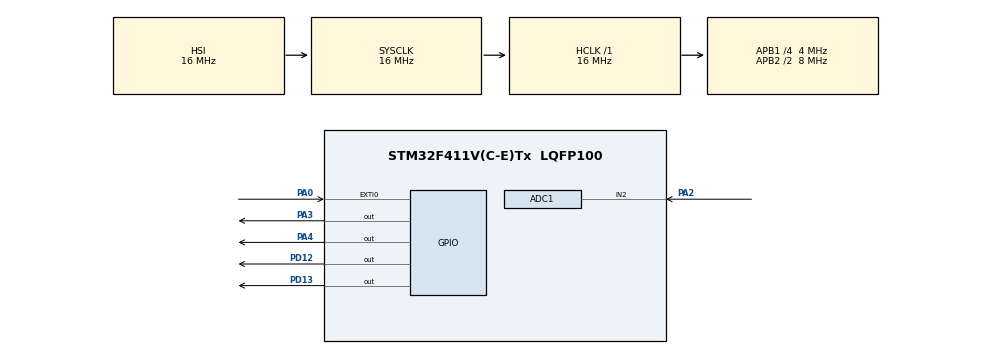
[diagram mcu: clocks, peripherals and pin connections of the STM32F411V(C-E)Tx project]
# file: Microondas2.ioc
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ADC1.Channel-0\#ChannelRegularConversion=ADC_CHANNEL_2
ADC1.NbrOfConversionFlag=1
ADC1.Rank-0\#ChannelRegularConversion=1
ADC1.Resolution=ADC_RESOLUTION_8B
ADC1.SamplingTime-0\#ChannelRegularConversion=ADC_SAMPLETIME_3CYCLES
ADC1.master=1
Mcu.Family=STM32F4
Mcu.Name=STM32F411V(C-E)Tx
Mcu.Package=LQFP100
NVIC.EXTI0_IRQn=true\:0\:0\:false\:false\:true\:true\:true\:true
NVIC.PriorityGroup=NVIC_PRIORITYGROUP_0
NVIC.TIM2_IRQn=true\:0\:0\:false\:false\:true\:true\:true\:true
PA0-WKUP.Signal=GPXTI0
PA1.Signal=S_TIM2_CH2
PA2.Signal=ADCx_IN2
PA3.Signal=GPIO_Output
PA4.Signal=GPIO_Output
PD12.Signal=GPIO_Output
PD13.Signal=GPIO_Output
ProjectManager.HeapSize=0x200
ProjectManager.StackSize=0x400
ProjectManager.TargetToolchain=STM32CubeIDE
RCC.48MHZClocksFreq_Value=96000000
RCC.AHBFreq_Value=16000000
RCC.APB1CLKDivider=RCC_HCLK_DIV4
RCC.APB1Freq_Value=4000000
RCC.APB1TimFreq_Value=8000000
RCC.APB2CLKDivider=RCC_HCLK_DIV2
RCC.APB2Freq_Value=8000000
RCC.APB2TimFreq_Value=16000000
RCC.CortexFreq_Value=16000000
RCC.HCLKFreq_Value=16000000
RCC.HSE_VALUE=8000000
RCC.HSI_VALUE=16000000
RCC.LSE_VALUE=32768
RCC.PLLI2SM=5
RCC.PLLI2SN=200
RCC.PLLM=4
RCC.PLLP=RCC_PLLP_DIV4
RCC.PLLQ=8
RCC.SYSCLKFreq_VALUE=16000000
RCC.VCOOutputFreq_Value=768000000
SH.ADCx_IN2.0=ADC1_IN2,IN2
SH.S_TIM2_CH2.0=TIM2_CH2
TIM2.CounterMode=TIM_COUNTERMODE_DOWN
TIM2.Period=4999
TIM2.Prescaler=7999
VP_TIM2_VS_ClockSourceINT.Mode=Internal
board=STM32F411E-DISCO

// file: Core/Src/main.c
/* USER CODE BEGIN Header */
/**
  ******************************************************************************
  * @file           : main.c
  * @brief          : Main program body
  ******************************************************************************
  * @attention
  *
  * Copyright (c) 2025 STMicroelectronics.
  * All rights reserved.
  *
  * This software is licensed under terms that can be found in the LICENSE file
  * in the root directory of this software component.
  * If no LICENSE file comes with this software, it is provided AS-IS.
  *
  ******************************************************************************
  */
/* USER CODE END Header */
#include "main.h"

/* USER CODE BEGIN Includes */
#include "stm32f4xx_hal.h"
#include <stdlib.h>
#include "lcd_i2c.h"

volatile uint8_t buttonPressed = 0;
volatile uint8_t time_end = 0;
uint32_t ADC_val;
uint32_t remaining_time;
/* USER CODE END Includes */

ADC_HandleTypeDef hadc1;

TIM_HandleTypeDef htim2;

void SystemClock_Config(void);
static void MX_GPIO_Init(void);
static void MX_ADC1_Init(void);
static void MX_TIM2_Init(void);

/* USER CODE BEGIN 0 */
void HAL_TIM_PeriodElapsedCallback(TIM_HandleTypeDef *htim)
{
  if (htim->Instance == TIM2)
  {
	if (remaining_time > 0)
        {
            remaining_time--;
	    static uint32_t last_display_time = 9999;  // Para evitar refrescar la pantalla constantemente
            if (remaining_time != last_display_time) {
            char buffer[16];
            snprintf(buffer, 16, "Tiempo: %d s", remaining_time);
            lcd_put_cur(0, 0);
            lcd_send_string(buffer);
            last_display_time = remaining_time;
        }
        else
        {
            HAL_GPIO_WritePin(GPIOD, GPIO_PIN_13, GPIO_PIN_SET);
            HAL_GPIO_WritePin(GPIOA, GPIO_PIN_4, GPIO_PIN_SET); //LED naranja ON
            HAL_GPIO_WritePin(GPIOA, GPIO_PIN_3, GPIO_PIN_RESET); //LED verde OFF
            HAL_TIM_Base_Stop_IT(&htim2);
        }
      //time_end = 1;
     /* Codigo anterior
      HAL_GPIO_WritePin(GPIOD, GPIO_PIN_13, GPIO_PIN_SET);
      HAL_GPIO_WritePin(GPIOA, GPIO_PIN_4, GPIO_PIN_SET);  // LED Naranja ON
      HAL_GPIO_WritePin(GPIOA, GPIO_PIN_3, GPIO_PIN_RESET); // LED naranja OFF
      HAL_TIM_Base_Stop_IT(&htim2);
      */
  }
}
void HAL_GPIO_EXTI_Callback(uint16_t GPIO_Pin)
{
 if (GPIO_Pin == GPIO_PIN_0) {
        HAL_Delay(50);  // Pequeño retardo para debounce
        if (HAL_GPIO_ReadPin(GPIOA, GPIO_PIN_0) == GPIO_PIN_SET) {
            HAL_GPIO_WritePin(GPIOD, GPIO_PIN_12, GPIO_PIN_SET);
            HAL_GPIO_WritePin(GPIOA, GPIO_PIN_3, GPIO_PIN_SET);  // LED verde ON
            HAL_GPIO_WritePin(GPIOA, GPIO_PIN_4, GPIO_PIN_RESET); // LED naranja OFF
            __HAL_TIM_CLEAR_FLAG(&htim2, TIM_IT_UPDATE);

            // Escalar ADC a un rango de tiempo útil (1-30 segundos)
            remaining_time = (ADC_val * 30) / 255;
            if (remaining_time == 0) remaining_time = 1;

            __HAL_TIM_SET_COUNTER(&htim2, remaining_time * 1000);  // Ajustar temporizador
            if (HAL_TIM_Base_Start_IT(&htim2) != HAL_OK) {
                Error_Handler();
            }
        }
    }
	/* Codigo anterior
  if (GPIO_Pin == GPIO_PIN_0)
  {
      //buttonPressed = 1;
      HAL_GPIO_WritePin(GPIOD, GPIO_PIN_12, GPIO_PIN_SET);
      HAL_GPIO_WritePin(GPIOA, GPIO_PIN_3, GPIO_PIN_SET);  // LED verde ON
      HAL_GPIO_WritePin(GPIOA, GPIO_PIN_4, GPIO_PIN_RESET); // LED naranja OFF
      __HAL_TIM_CLEAR_FLAG(&htim2, TIM_IT_UPDATE);
      __HAL_TIM_SET_COUNTER(&htim2, ADC_val*100);
      remaining_time = ADC_val;
      HAL_TIM_Base_Start_IT(&htim2);
  }*/

}
/* USER CODE END 0 */

int main(void)
{

  /* MCU Configuration--------------------------------------------------------*/

  /* Reset of all peripherals, Initializes the Flash interface and the Systick. */
  HAL_Init();

  /* Configure the system clock */
  SystemClock_Config();

  /* Initialize all configured peripherals */
  MX_GPIO_Init();
  MX_ADC1_Init();
  MX_TIM2_Init();
  lcd_init();  // Inicializar la pantalla LCD

  /* Infinite loop */
  while (1)
  {

    /* USER CODE BEGIN 3 */
	  //Leemos el valor del potenciometro
	  HAL_ADC_Start(&hadc1);

	  	 if(HAL_ADC_PollForConversion(&hadc1, HAL_MAX_DELAY) == HAL_OK){
	  	 	ADC_val = HAL_ADC_GetValue(&hadc1);
	  	 }
	  HAL_ADC_Stop(&hadc1);
  }
  /* USER CODE END 3 */
}

void SystemClock_Config(void)
{
  RCC_OscInitTypeDef RCC_OscInitStruct = {0};
  RCC_ClkInitTypeDef RCC_ClkInitStruct = {0};

  /** Configure the main internal regulator output voltage
  */
  __HAL_RCC_PWR_CLK_ENABLE();
  __HAL_PWR_VOLTAGESCALING_CONFIG(PWR_REGULATOR_VOLTAGE_SCALE1);

  /** Initializes the RCC Oscillators according to the specified parameters
  * in the RCC_OscInitTypeDef structure.
  */
  RCC_OscInitStruct.OscillatorType = RCC_OSCILLATORTYPE_HSI;
  RCC_OscInitStruct.HSIState = RCC_HSI_ON;
  RCC_OscInitStruct.HSICalibrationValue = RCC_HSICALIBRATION_DEFAULT;
  RCC_OscInitStruct.PLL.PLLState = RCC_PLL_NONE;
  if (HAL_RCC_OscConfig(&RCC_OscInitStruct) != HAL_OK)
  {
    Error_Handler();
  }

  /** Initializes the CPU, AHB and APB buses clocks
  */
  RCC_ClkInitStruct.ClockType = RCC_CLOCKTYPE_HCLK|RCC_CLOCKTYPE_SYSCLK
                              |RCC_CLOCKTYPE_PCLK1|RCC_CLOCKTYPE_PCLK2;
  RCC_ClkInitStruct.SYSCLKSource = RCC_SYSCLKSOURCE_HSI;
  RCC_ClkInitStruct.AHBCLKDivider = RCC_SYSCLK_DIV1;
  RCC_ClkInitStruct.APB1CLKDivider = RCC_HCLK_DIV4;
  RCC_ClkInitStruct.APB2CLKDivider = RCC_HCLK_DIV2;

  if (HAL_RCC_ClockConfig(&RCC_ClkInitStruct, FLASH_LATENCY_0) != HAL_OK)
  {
    Error_Handler();
  }
}

static void MX_ADC1_Init(void)
{

  ADC_ChannelConfTypeDef sConfig = {0};

  /** Configure the global features of the ADC (Clock, Resolution, Data Alignment and number of conversion)
  */
  hadc1.Instance = ADC1;
  hadc1.Init.ClockPrescaler = ADC_CLOCK_SYNC_PCLK_DIV2;
  hadc1.Init.Resolution = ADC_RESOLUTION_8B;
  hadc1.Init.ScanConvMode = DISABLE;
  hadc1.Init.ContinuousConvMode = DISABLE;
  hadc1.Init.DiscontinuousConvMode = DISABLE;
  hadc1.Init.ExternalTrigConvEdge = ADC_EXTERNALTRIGCONVEDGE_NONE;
  hadc1.Init.ExternalTrigConv = ADC_SOFTWARE_START;
  hadc1.Init.DataAlign = ADC_DATAALIGN_RIGHT;
  hadc1.Init.NbrOfConversion = 1;
  hadc1.Init.DMAContinuousRequests = DISABLE;
  hadc1.Init.EOCSelection = ADC_EOC_SINGLE_CONV;
  if (HAL_ADC_Init(&hadc1) != HAL_OK)
  {
    Error_Handler();
  }

  /** Configure for the selected ADC regular channel its corresponding rank in the sequencer and its sample time.
  */
  sConfig.Channel = ADC_CHANNEL_2;
  sConfig.Rank = 1;
  sConfig.SamplingTime = ADC_SAMPLETIME_3CYCLES;
  if (HAL_ADC_ConfigChannel(&hadc1, &sConfig) != HAL_OK)
  {
    Error_Handler();
  }

}

static void MX_TIM2_Init(void)
{

  TIM_ClockConfigTypeDef sClockSourceConfig = {0};
  TIM_MasterConfigTypeDef sMasterConfig = {0};

  htim2.Instance = TIM2;
  htim2.Init.Prescaler = 7999;
  htim2.Init.CounterMode = TIM_COUNTERMODE_DOWN;
  htim2.Init.Period = 4999;
  htim2.Init.ClockDivision = TIM_CLOCKDIVISION_DIV1;
  htim2.Init.AutoReloadPreload = TIM_AUTORELOAD_PRELOAD_DISABLE;
  if (HAL_TIM_Base_Init(&htim2) != HAL_OK)
  {
    Error_Handler();
  }
  sClockSourceConfig.ClockSource = TIM_CLOCKSOURCE_INTERNAL;
  if (HAL_TIM_ConfigClockSource(&htim2, &sClockSourceConfig) != HAL_OK)
  {
    Error_Handler();
  }
  sMasterConfig.MasterOutputTrigger = TIM_TRGO_RESET;
  sMasterConfig.MasterSlaveMode = TIM_MASTERSLAVEMODE_DISABLE;
  if (HAL_TIMEx_MasterConfigSynchronization(&htim2, &sMasterConfig) != HAL_OK)
  {
    Error_Handler();
  }

}

static void MX_GPIO_Init(void)
{
  GPIO_InitTypeDef GPIO_InitStruct = {0};

  /* GPIO Ports Clock Enable */
  __HAL_RCC_GPIOA_CLK_ENABLE();
  __HAL_RCC_GPIOD_CLK_ENABLE();

  /*Configure GPIO pin Output Level */
  HAL_GPIO_WritePin(GPIOA, GPIO_PIN_3|GPIO_PIN_4, GPIO_PIN_RESET);

  /*Configure GPIO pin Output Level */
  HAL_GPIO_WritePin(GPIOD, GPIO_PIN_12|GPIO_PIN_13, GPIO_PIN_RESET);

  /*Configure GPIO pin : PA0 */
  GPIO_InitStruct.Pin = GPIO_PIN_0;
  GPIO_InitStruct.Mode = GPIO_MODE_IT_RISING;
  GPIO_InitStruct.Pull = GPIO_NOPULL;
  HAL_GPIO_Init(GPIOA, &GPIO_InitStruct);

  /*Configure GPIO pins : PA3 PA4 */
  GPIO_InitStruct.Pin = GPIO_PIN_3|GPIO_PIN_4;
  GPIO_InitStruct.Mode = GPIO_MODE_OUTPUT_PP;
  GPIO_InitStruct.Pull = GPIO_NOPULL;
  GPIO_InitStruct.Speed = GPIO_SPEED_FREQ_LOW;
  HAL_GPIO_Init(GPIOA, &GPIO_InitStruct);

  /*Configure GPIO pins : PD12 PD13 */
  GPIO_InitStruct.Pin = GPIO_PIN_12|GPIO_PIN_13;
  GPIO_InitStruct.Mode = GPIO_MODE_OUTPUT_PP;
  GPIO_InitStruct.Pull = GPIO_NOPULL;
  GPIO_InitStruct.Speed = GPIO_SPEED_FREQ_LOW;
  HAL_GPIO_Init(GPIOD, &GPIO_InitStruct);

  /* EXTI interrupt init*/
  HAL_NVIC_SetPriority(EXTI0_IRQn, 0, 0);
  HAL_NVIC_EnableIRQ(EXTI0_IRQn);

}

void Error_Handler(void)
{
  __disable_irq();
  while (1)
  {
  }
}
